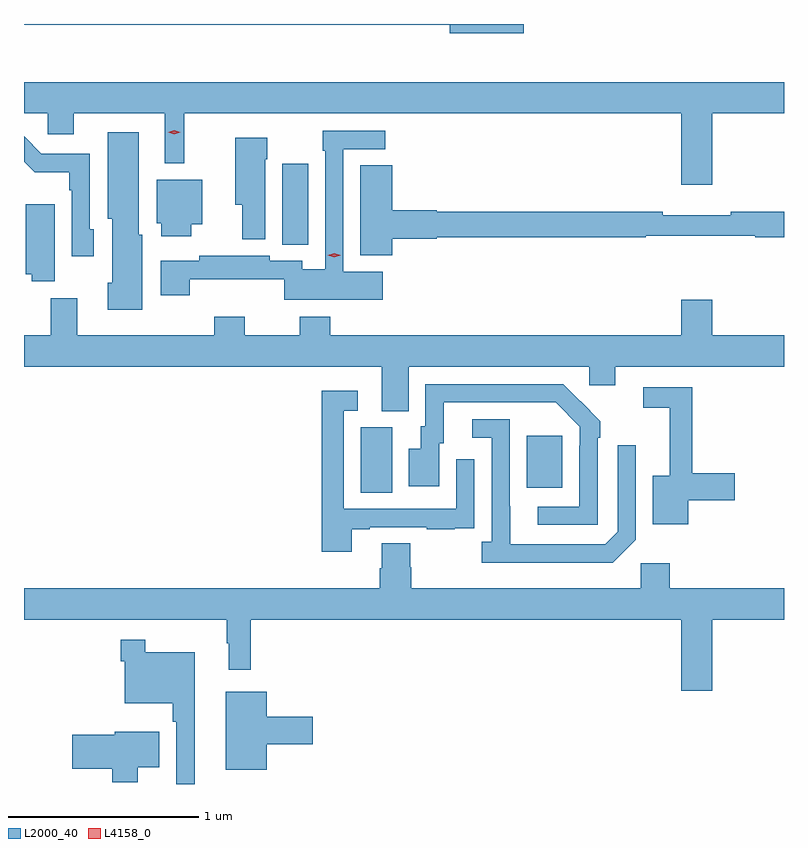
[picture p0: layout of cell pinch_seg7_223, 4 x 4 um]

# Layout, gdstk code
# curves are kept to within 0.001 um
import gdstk
lib = gdstk.Library(unit=1e-6, precision=1e-09)
def R(c, l, rs):  # rectangles x0, y0, x1, y1
    for r in rs: c.add(gdstk.rectangle(r[:2], r[2:], *l))
def P(c, l, *ps):  # polygons
    for p in ps: c.add(gdstk.Polygon(p, *l))
L2000_40 = (2000, 40)
L4158_0 = (4158, 0)

pinch_seg7_223 = lib.new_cell('pinch_seg7_223')
R(pinch_seg7_223, L2000_40, [(846.638,1077.208,846.802,1077.552), (847.511,1077.233,847.699,1077.508), (846.224,1078.513,846.361,1078.939)])
P(pinch_seg7_223, L2000_40, [(847.495,1079.675),(844.865,1079.675),(844.865,1079.67),(847.106,1079.67),(847.106,1079.627),(847.495,1079.627)],
  [(848.488,1079.204),(848.865,1079.204),(848.865,1079.368),(844.865,1079.368),(844.865,1079.204),(844.989,1079.204),(844.989,1079.094),(845.128,1079.094),(845.128,1079.204),(845.606,1079.204),(845.606,1078.941),(845.708,1078.941),(845.708,1079.204),(848.324,1079.204),(848.324,1078.83),(848.488,1078.83)],
  [(846.754,1078.372),(846.546,1078.372),(846.546,1079.016),(846.766,1079.016),(846.766,1079.112),(846.438,1079.112),(846.438,1079.009),(846.45,1079.009),(846.45,1078.384),(846.33,1078.384),(846.33,1078.428),(846.159,1078.428),(846.159,1078.456),(845.787,1078.456),(845.787,1078.429),(845.585,1078.429),(845.585,1078.248),(845.738,1078.248),(845.738,1078.331),(846.234,1078.331),(846.234,1078.223),(846.754,1078.223)],
  [(845.488,1078.566),(845.47,1078.566),(845.47,1079.104),(845.306,1079.104),(845.306,1078.65),(845.33,1078.65),(845.33,1078.314),(845.306,1078.314),(845.306,1078.17),(845.488,1078.17)],
  [(845.232,1078.596),(845.211,1078.596),(845.211,1078.992),(844.956,1078.992),(844.865,1079.083),(844.865,1078.951),(844.921,1078.895),(845.103,1078.895),(845.103,1078.799),(845.115,1078.799),(845.115,1078.452),(845.232,1078.452)],
  [(846.136,1078.964),(846.144,1078.964),(846.144,1079.077),(845.978,1079.077),(845.978,1078.724),(846.014,1078.724),(846.014,1078.542),(846.136,1078.542)],
  [(846.802,1078.544),(847.038,1078.544),(847.038,1078.552),(848.138,1078.552),(848.138,1078.56),(848.713,1078.56),(848.713,1078.552),(848.865,1078.552),(848.865,1078.688),(848.584,1078.688),(848.584,1078.669),(848.228,1078.669),(848.228,1078.688),(847.038,1078.688),(847.038,1078.696),(846.802,1078.696),(846.802,1078.931),(846.635,1078.931),(846.635,1078.457),(846.802,1078.457)],
  [(845.746,1078.622),(845.803,1078.622),(845.803,1078.855),(845.564,1078.855),(845.564,1078.626),(845.588,1078.626),(845.588,1078.559),(845.746,1078.559)],
  [(845.026,1078.726),(844.874,1078.726),(844.874,1078.358),(844.906,1078.358),(844.906,1078.321),(845.026,1078.321)],
  [(845.867,1078.135),(845.867,1078.036),(845.146,1078.036),(845.146,1078.231),(845.006,1078.231),(845.006,1078.036),(844.865,1078.036),(844.865,1077.872),(846.749,1077.872),(846.749,1077.637),(846.889,1077.637),(846.889,1077.872),(847.839,1077.872),(847.839,1077.774),(847.978,1077.774),(847.978,1077.872),(848.865,1077.872),(848.865,1078.036),(848.488,1078.036),(848.488,1078.225),(848.324,1078.225),(848.324,1078.036),(846.476,1078.036),(846.476,1078.135),(846.316,1078.135),(846.316,1078.036),(846.027,1078.036),(846.027,1078.135)],
  [(847.884,1077.497),(847.899,1077.497),(847.899,1077.585),(847.702,1077.78),(846.978,1077.78),(846.978,1077.558),(846.953,1077.558),(846.953,1077.439),(846.89,1077.439),(846.89,1077.243),(847.051,1077.243),(847.051,1077.468),(847.075,1077.468),(847.075,1077.684),(847.663,1077.684),(847.791,1077.555),(847.791,1077.455),(847.788,1077.455),(847.788,1077.135),(847.569,1077.135),(847.569,1077.039),(847.884,1077.039)],
  [(848.362,1077.169),(848.605,1077.169),(848.605,1077.311),(848.381,1077.311),(848.381,1077.762),(848.124,1077.762),(848.124,1077.654),(848.264,1077.654),(848.264,1077.298),(848.174,1077.298),(848.174,1077.041),(848.362,1077.041)],
  [(846.589,1077.015),(846.685,1077.015),(846.685,1077.027),(846.985,1077.027),(846.985,1077.015),(847.133,1077.015),(847.133,1077.021),(847.235,1077.021),(847.235,1077.13),(847.236,1077.13),(847.236,1077.385),(847.14,1077.385),(847.14,1077.123),(846.549,1077.123),(846.549,1077.639),(846.622,1077.639),(846.622,1077.745),(846.433,1077.745),(846.433,1076.898),(846.589,1076.898)],
  [(848.085,1076.961),(848.085,1077.457),(847.989,1077.457),(847.989,1077.003),(847.923,1076.937),(847.423,1076.937),(847.422,1077.594),(847.224,1077.594),(847.224,1077.498),(847.326,1077.498),(847.326,1076.95),(847.275,1076.95),(847.275,1076.84),(847.964,1076.84)],
  [(848.488,1076.54),(848.865,1076.54),(848.865,1076.704),(848.264,1076.704),(848.264,1076.836),(848.112,1076.836),(848.112,1076.704),(846.902,1076.704),(846.902,1076.817),(846.897,1076.817),(846.897,1076.942),(846.749,1076.942),(846.749,1076.81),(846.737,1076.81),(846.737,1076.704),(844.865,1076.704),(844.865,1076.54),(845.931,1076.54),(845.931,1076.417),(845.942,1076.417),(845.942,1076.277),(846.059,1076.277),(846.059,1076.54),(848.324,1076.54),(848.324,1076.166),(848.488,1076.166)],
  [(845.764,1076.368),(845.503,1076.368),(845.503,1076.434),(845.374,1076.434),(845.374,1076.321),(845.394,1076.321),(845.394,1076.099),(845.647,1076.099),(845.647,1076.003),(845.667,1076.003),(845.667,1075.675),(845.764,1075.675)],
  [(846.142,1075.883),(846.385,1075.883),(846.385,1076.03),(846.142,1076.03),(846.142,1076.161),(845.927,1076.161),(845.927,1075.751),(846.142,1075.751)],
  [(845.464,1075.763),(845.578,1075.763),(845.578,1075.951),(845.342,1075.951),(845.342,1075.934),(845.118,1075.934),(845.118,1075.756),(845.33,1075.756),(845.33,1075.685),(845.464,1075.685)])
P(pinch_seg7_223, L4158_0, [(846.497,1078.448),(846.463,1078.458),(846.462,1078.458),(846.463,1078.458),(846.497,1078.468),(846.532,1078.457),(846.532,1078.457),(846.532,1078.457)],
  [(845.656,1079.096),(845.623,1079.106),(845.623,1079.106),(845.623,1079.106),(845.656,1079.116),(845.688,1079.106),(845.688,1079.106),(845.688,1079.106)])

lib.write_gds('pinch_seg7_223.gds')
